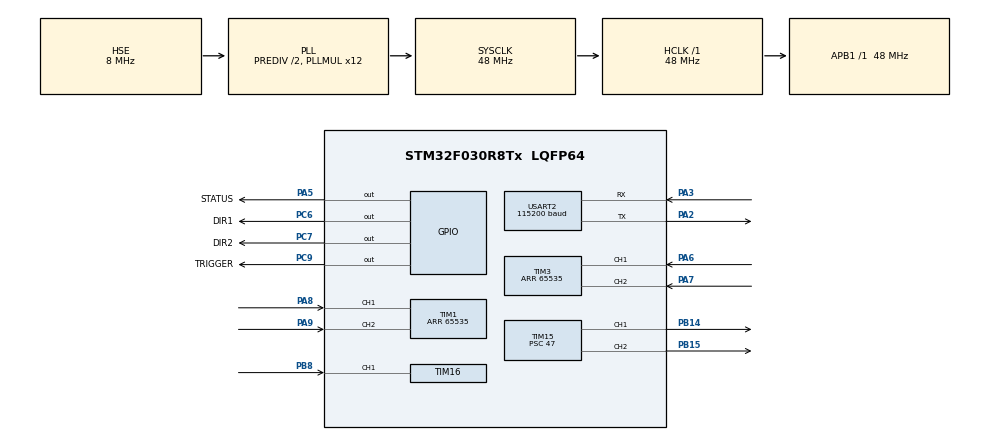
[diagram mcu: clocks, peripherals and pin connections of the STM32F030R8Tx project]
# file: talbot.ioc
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Dma.Request0=USART2_RX
Dma.Request1=USART2_TX
Dma.USART2_RX.0.Direction=DMA_PERIPH_TO_MEMORY
Dma.USART2_RX.0.Instance=DMA1_Channel5
Dma.USART2_RX.0.MemDataAlignment=DMA_MDATAALIGN_BYTE
Dma.USART2_RX.0.MemInc=DMA_MINC_ENABLE
Dma.USART2_RX.0.Mode=DMA_NORMAL
Dma.USART2_RX.0.PeriphDataAlignment=DMA_PDATAALIGN_BYTE
Dma.USART2_RX.0.PeriphInc=DMA_PINC_DISABLE
Dma.USART2_RX.0.Priority=DMA_PRIORITY_HIGH
Dma.USART2_TX.1.Direction=DMA_MEMORY_TO_PERIPH
Dma.USART2_TX.1.Instance=DMA1_Channel4
Dma.USART2_TX.1.MemDataAlignment=DMA_MDATAALIGN_BYTE
Dma.USART2_TX.1.MemInc=DMA_MINC_ENABLE
Dma.USART2_TX.1.Mode=DMA_NORMAL
Dma.USART2_TX.1.PeriphDataAlignment=DMA_PDATAALIGN_BYTE
Dma.USART2_TX.1.PeriphInc=DMA_PINC_DISABLE
Dma.USART2_TX.1.Priority=DMA_PRIORITY_HIGH
Mcu.Family=STM32F0
Mcu.Name=STM32F030R8Tx
Mcu.Package=LQFP64
NVIC.DMA1_Channel4_5_IRQn=true\:0\:0\:false\:false\:true
NVIC.TIM14_IRQn=true\:0\:0\:false\:false\:true
NVIC.TIM16_IRQn=true\:0\:0\:false\:false\:true
NVIC.USART2_IRQn=true\:0\:0\:false\:false\:true
PA13.Mode=Serial_Wire
PA13.Signal=SYS_SWDIO
PA14.Mode=Serial_Wire
PA14.Signal=SYS_SWCLK
PA2.Mode=Asynchronous
PA2.Signal=USART2_TX
PA3.Mode=Asynchronous
PA3.Signal=USART2_RX
PA5.GPIO_Label=STATUS
PA5.Signal=GPIO_Output
PA6.Signal=S_TIM3_CH1
PA7.Signal=S_TIM3_CH2
PA8.Signal=S_TIM1_CH1
PA9.Signal=S_TIM1_CH2
PB14.Signal=S_TIM15_CH1
PB15.Signal=S_TIM15_CH2
PB8.Signal=S_TIM16_CH1
PC6.GPIO_Label=DIR1
PC6.GPIO_PuPd=GPIO_PULLUP
PC6.Signal=GPIO_Output
PC7.GPIO_Label=DIR2
PC7.GPIO_PuPd=GPIO_PULLUP
PC7.Signal=GPIO_Output
PC9.GPIO_Label=TRIGGER
PC9.PinState=GPIO_PIN_SET
PC9.Signal=GPIO_Output
PF0-OSC_IN.Mode=HSE-External-Oscillator
PF0-OSC_IN.Signal=RCC_OSC_IN
PF1-OSC_OUT.Mode=HSE-External-Oscillator
PF1-OSC_OUT.Signal=RCC_OSC_OUT
ProjectManager.HeapSize=0x400
ProjectManager.StackSize=0x200
ProjectManager.TargetToolchain=MDK-ARM V5
RCC.AHBFreq_Value=48000000
RCC.APB1Freq_Value=48000000
RCC.APB1TimFreq_Value=48000000
RCC.DATA_CACHE_ENABLE=1
RCC.EnbaleCSS=true
RCC.HCLKFreq_Value=48000000
RCC.HSIState=RCC_HSI_ON
RCC.INSTRUCTION_CACHE_ENABLE=1
RCC.PLLDivider=RCC_PREDIV_DIV2
RCC.PLLMUL=RCC_PLL_MUL12
RCC.PLLSourceVirtual=RCC_PLLSOURCE_HSE
RCC.SYSCLKFreq_VALUE=48000000
RCC.SYSCLKSource=RCC_SYSCLKSOURCE_PLLCLK
SH.S_TIM15_CH1.0=TIM15_CH1,PWM Generation1 CH1
SH.S_TIM15_CH2.0=TIM15_CH2,PWM Generation2 CH2
SH.S_TIM16_CH1.0=TIM16_CH1,Input_Capture1_from_TI1
SH.S_TIM1_CH1.0=TIM1_CH1,Encoder_Interface
SH.S_TIM1_CH2.0=TIM1_CH2,Encoder_Interface
SH.S_TIM3_CH1.0=TIM3_CH1,Encoder_Interface
SH.S_TIM3_CH2.0=TIM3_CH2,Encoder_Interface
TIM1.CounterMode=TIM_COUNTERMODE_UP
TIM1.EncoderMode=TIM_ENCODERMODE_TI1
TIM1.IC1Filter=2
TIM1.IC1Polarity=TIM_ICPOLARITY_RISING
TIM1.IC2Filter=2
TIM1.IC2Polarity=TIM_ICPOLARITY_RISING
TIM1.Period=65535
TIM14.Period=9
TIM14.Prescaler=47
TIM15.Channel-PWM\ Generation2\ CH2=TIM_CHANNEL_2
TIM15.Period=1000
TIM15.Prescaler=47
TIM15.Pulse-PWM\ Generation1\ CH1=0
TIM15.Pulse-PWM\ Generation2\ CH2=0
TIM16.ICPolarity_CH1=TIM_INPUTCHANNELPOLARITY_BOTHEDGE
TIM16.Period=65535
TIM16.Prescaler=2399
TIM3.IC1Filter=2
TIM3.IC2Filter=2
TIM3.Period=65535
USART2.BaudRate=115200
VP_TIM14_VS_ClockSourceINT.Mode=Enable_Timer
VP_TIM14_VS_no_output1.Mode=Output Compare1 No Output
VP_TIM15_VS_ClockSourceINT.Mode=Internal
VP_TIM16_VS_ClockSourceINT.Mode=Enable_Timer
board=talbot

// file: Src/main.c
/**
  ******************************************************************************
  * File Name          : main.c
  * Description        : Main program body
  ******************************************************************************
  *
  * COPYRIGHT(c) 2016 STMicroelectronics
  *
  * Redistribution and use in source and binary forms, with or without modification,
  * are permitted provided that the following conditions are met:
  *   1. Redistributions of source code must retain the above copyright notice,
  *      this list of conditions and the following disclaimer.
  *   2. Redistributions in binary form must reproduce the above copyright notice,
  *      this list of conditions and the following disclaimer in the documentation
  *      and/or other materials provided with the distribution.
  *   3. Neither the name of STMicroelectronics nor the names of its contributors
  *      may be used to endorse or promote products derived from this software
  *      without specific prior written permission.
  *
  * THIS SOFTWARE IS PROVIDED BY THE COPYRIGHT HOLDERS AND CONTRIBUTORS "AS IS"
  * AND ANY EXPRESS OR IMPLIED WARRANTIES, INCLUDING, BUT NOT LIMITED TO, THE
  * IMPLIED WARRANTIES OF MERCHANTABILITY AND FITNESS FOR A PARTICULAR PURPOSE ARE
  * DISCLAIMED. IN NO EVENT SHALL THE COPYRIGHT HOLDER OR CONTRIBUTORS BE LIABLE
  * FOR ANY DIRECT, INDIRECT, INCIDENTAL, SPECIAL, EXEMPLARY, OR CONSEQUENTIAL
  * DAMAGES (INCLUDING, BUT NOT LIMITED TO, PROCUREMENT OF SUBSTITUTE GOODS OR
  * SERVICES; LOSS OF USE, DATA, OR PROFITS; OR BUSINESS INTERRUPTION) HOWEVER
  * CAUSED AND ON ANY THEORY OF LIABILITY, WHETHER IN CONTRACT, STRICT LIABILITY,
  * OR TORT (INCLUDING NEGLIGENCE OR OTHERWISE) ARISING IN ANY WAY OUT OF THE USE
  * OF THIS SOFTWARE, EVEN IF ADVISED OF THE POSSIBILITY OF SUCH DAMAGE.
  *
  ******************************************************************************
  */
#include "stm32f0xx_hal.h"

/* USER CODE BEGIN Includes */
#include <string.h>
#include <stdlib.h>
#include <math.h>
#include "CommandParser.h"
#include "SpeedControl.h"
/* USER CODE END Includes */

TIM_HandleTypeDef htim1;
TIM_HandleTypeDef htim3;
TIM_HandleTypeDef htim14;
TIM_HandleTypeDef htim15;
TIM_HandleTypeDef htim16;

UART_HandleTypeDef huart2;
DMA_HandleTypeDef hdma_usart2_rx;
DMA_HandleTypeDef hdma_usart2_tx;

/* USER CODE BEGIN PV */
/* Private variables ---------------------------------------------------------*/
#define BRAKE_ON			 0
#define RX_BUFFER_SIZE 0x200
volatile uint8_t rx_buffer[RX_BUFFER_SIZE];
static	uint8_t command[RX_BUFFER_SIZE>>1];
int rx_index = 0;

static char Str[0x100];

struct MotorState
{
	uint8_t Move;
	int 		Steps;
	int8_t 	Dir;
	float 	CurrentSpeed;
	float 	WheelDistance;
};

struct MotorState	Motors[2];
const int8_t WheelSigns[2] = { 1, -1 };

uint8_t TestModeEnable = 0;

volatile uint32_t ObstacleDistance = 0;

/* USER CODE END PV */

void SystemClock_Config(void);
void Error_Handler(void);
static void MX_GPIO_Init(void);
static void MX_DMA_Init(void);
static void MX_TIM1_Init(void);
static void MX_TIM3_Init(void);
static void MX_TIM15_Init(void);
static void MX_USART2_UART_Init(void);
static void MX_TIM14_Init(void);
static void MX_TIM16_Init(void);

void HAL_TIM_MspPostInit(TIM_HandleTypeDef *htim);

/* USER CODE BEGIN PFP */
/* Private function prototypes -----------------------------------------------*/

/* USER CODE END PFP */

/* USER CODE BEGIN 0 */

int stdout_putchar (int ch)
{
	while (HAL_UART_Transmit_DMA(&huart2, (uint8_t *)&ch, 1) == HAL_BUSY)
		__nop();
	return ch;
}

int stdin_getchar (void)
{
	return 0;
}

int GetDeltaCount(uint8_t ch, uint32_t *lastCount)
{
	uint32_t current = ch==0 ? htim1.Instance->CNT : htim3.Instance->CNT;
	int delta = current-*lastCount;
	if (delta>0x8000)
		delta -= 0x10000;
	else if (delta<-0x8000)
		delta += 0x10000;
	*lastCount = current;
	return delta;
}

#define BRAKE_DUTY								100
#define	DUTY_RESOLUTION						1000
#define	DUTY_ACTUAL_RESOLUTION		900

int BrakeActuator(int channel, int dir)
{
	if (channel==0)
	{
		HAL_TIM_PWM_Stop(&htim15, TIM_CHANNEL_1);
		HAL_GPIO_WritePin(DIR1_GPIO_Port, DIR1_Pin, dir<0 ? GPIO_PIN_SET:GPIO_PIN_RESET);
		htim15.Instance->CCR1 = BRAKE_DUTY;
		HAL_TIM_PWM_Start(&htim15, TIM_CHANNEL_1);
	}
	else if (channel==1)
	{
		HAL_TIM_PWM_Stop(&htim15, TIM_CHANNEL_2);
		HAL_GPIO_WritePin(DIR2_GPIO_Port, DIR2_Pin, dir<0 ? GPIO_PIN_SET:GPIO_PIN_RESET);
		htim15.Instance->CCR2 = BRAKE_DUTY;
		HAL_TIM_PWM_Start(&htim15, TIM_CHANNEL_2);
	}
	return 1;
}

void PWMDutyChanged(int channel, float duty)
{
	uint32_t ccr = (fabs(duty)<EPSILON_F) ? 0 : (uint32_t)(fabs(duty)*DUTY_ACTUAL_RESOLUTION)+BRAKE_DUTY;
	if (channel==0)
	{
		HAL_TIM_PWM_Stop(&htim15, TIM_CHANNEL_1);
		HAL_GPIO_WritePin(DIR1_GPIO_Port, DIR1_Pin, duty>0 ? GPIO_PIN_SET:GPIO_PIN_RESET);
		htim15.Instance->CCR1 = ccr;
		HAL_TIM_PWM_Start(&htim15, TIM_CHANNEL_1);
	}
	else if (channel==1)
	{
		HAL_TIM_PWM_Stop(&htim15, TIM_CHANNEL_2);
		HAL_GPIO_WritePin(DIR2_GPIO_Port, DIR2_Pin, duty>0 ? GPIO_PIN_SET:GPIO_PIN_RESET);
		htim15.Instance->CCR2 = ccr;
		HAL_TIM_PWM_Start(&htim15, TIM_CHANNEL_2);
	}
}

#define REPORT_INTERVAL	50

void OutputSpeed(int channel)
{
	printf("CH %d Speed: %d mm/s\r\n", channel, (int)(Motors[channel].CurrentSpeed+0.5f));
}

float GetCurrentSpeed(int channel)
{
	return Motors[channel].CurrentSpeed;
}

void Update()
{
	for(int i=0;i<2;++i)
	{
		if (Motors[i].Move)
		{
			if (TestModeEnable>1 && HAL_GetTick()%REPORT_INTERVAL==0)
				OutputSpeed(i);
			if (Motors[i].Dir>0)
			{
				if (Motors[i].Steps<=0)
					Motors[i].Move = PIDStop(i, BRAKE_ON);
			}
			else
			{
				if (Motors[i].Steps>=0)
					Motors[i].Move = PIDStop(i, BRAKE_ON);
			}
		}
	}
}

void HAL_SYSTICK_Callback(void)
{
	uint32_t tick = HAL_GetTick();
	if (tick%500==0)
		HAL_GPIO_TogglePin(STATUS_GPIO_Port, STATUS_Pin);
	PIDTick(HAL_GetTick());
	if (tick%100==0)
	{
		HAL_TIM_IC_Stop_IT(&htim16, TIM_CHANNEL_1);
		HAL_GPIO_WritePin(TRIGGER_GPIO_Port, TRIGGER_Pin, GPIO_PIN_RESET);
		htim16.Instance->CNT = 0;
		HAL_TIM_IC_Start_IT(&htim16, TIM_CHANNEL_1);
		HAL_GPIO_WritePin(TRIGGER_GPIO_Port, TRIGGER_Pin, GPIO_PIN_SET);

	}
}

void Move(const struct MotorConfig *config)
{
	static int8_t boot = 1;
	int max = abs(config->LW) < abs(config->RW) ? abs(config->RW) : abs(config->LW);

	if (max==0)
	{
		Motors[0].Steps = 0;
		Motors[0].Move = 1;
		Motors[1].Steps = 0;
		Motors[1].Move = 1;
		PIDStop(0, BRAKE_ON);
		PIDStop(1, BRAKE_ON);
		return;
	}

	float lw = config->LW * (WheelSigns[0]);
	float rw = config->RW * (WheelSigns[1]);
	float vl = config->Speed * lw / max;
	float vr = config->Speed * rw / max;

	Motors[0].Dir = vl>0 ? 1 : -1;
	Motors[1].Dir = vr>0 ? 1 : -1;
	Motors[0].Move = 1;
	Motors[1].Move = 1;

	if (fabs(vl)<EPSILON_F)
	{
		Motors[0].Steps = 0;
		PIDStop(0, BRAKE_ON);
	}
	else
	{
		Motors[0].Steps = (int)(lw / DPP);
		PIDStart(0, vl, boot);
	}

	if (fabs(vr)<0.000001f)
	{
		Motors[1].Steps = 0;
		PIDStop(0, BRAKE_ON);
	}
	else
	{
		Motors[1].Steps = (int)(rw / DPP);
		PIDStart(1, vr, boot);
	}
	boot = 0;
}

void SetTestMode(uint8_t on)
{
	TestModeEnable = on;
	if (on)
	{
		Motors[0].WheelDistance = 0;
		Motors[1].WheelDistance = 0;
	}
}

void CommandProcess(enum CommandEnum command, const void *params)
{
	switch (command)
	{
		case SetMotorCommand:
			if (TestModeEnable)
			{
				Move((const struct MotorConfig *)params);
				printf("\x1A");
			}
			else
				printf("TestMode Off\x1A");
			fflush(stdout);
			break;
		case GetMotorCommand:
			if (TestModeEnable)
			{
				sprintf(Str,"LeftWheel_PositionInMM,%d\nLeftWheel_Speed,%d\nRightWheel_PositionInMM,%d\nRightWheel_Speed,%d\nObstacle_Distance,%d\n\x1A",
					(int)Motors[0].WheelDistance, (int)Motors[0].CurrentSpeed,
					(int)Motors[1].WheelDistance, (int)Motors[1].CurrentSpeed, ObstacleDistance);
				uint16_t size = strlen(Str);
				while (HAL_UART_Transmit_DMA(&huart2, (uint8_t *)Str, size)==HAL_BUSY)
					__nop();
			}
			else
			{
				printf("TestMode Off\x1A");
				fflush(stdout);
			}
			break;
		case TestModeCommand:
			SetTestMode(*(uint8_t *)params);
			printf("\x1A");
			fflush(stdout);
			break;
		case InvalidCommand:
			printf("Invalid Command\x1A");
			fflush(stdout);
			break;
	}
}

//Ultrasonic Counter Update
void HAL_TIM_IC_CaptureCallback(TIM_HandleTypeDef *htim)
{
	static uint8_t us_count_start = 0;
	static int us_count = 0;

	if (htim!=&htim16)
		return;

	if (us_count_start)
	{
		us_count_start = 0;
		us_count = htim16.Instance->CCR1 - us_count;
		if (us_count>0 && us_count<600)
			ObstacleDistance = us_count;
		else
			ObstacleDistance = 0;
		HAL_TIM_IC_Stop_IT(&htim16, TIM_CHANNEL_1);
		htim16.Instance->CNT = 0;
	}
	else
	{
		us_count_start = 1;
		us_count = htim16.Instance->CCR1;
	}
}

//Timer for speed with 10us period
void HAL_TIM_PeriodElapsedCallback(TIM_HandleTypeDef *htim)
{
	static uint32_t stepCounts[2];
	static uint32_t dt[2] = { 0, 0 };
	static uint8_t boot = 1;
	if (htim != &htim14)
		return;
	if (boot)
	{
		stepCounts[0] = htim1.Instance->CNT;
		stepCounts[1] = htim3.Instance->CNT;
		boot = 0;
		return;
	}
	for(int i=0;i<2;++i)
	{
		int delta = GetDeltaCount(i, &stepCounts[i]);
		dt[i]+=10;
		if (delta==0 && dt[i]<100000)
			continue;
		if (Motors[i].Move)
			Motors[i].Steps -= delta;
		float dd = delta * DPP;
		Motors[i].WheelDistance += WheelSigns[i] * dd;
		Motors[i].CurrentSpeed = dd*1000000/dt[i];
		dt[i] = 0;
	}

	//Ultrasonic sensor PWM counter
	//UltrasonicCounterUpdate();
}

uint8_t half_rx = 0;
int offset = 0;

void HAL_UART_RxHalfCpltCallback(UART_HandleTypeDef *huart)
{
	half_rx = 1;
}

void ReceiveData(uint8_t boot)
{
	while(huart2.gState==HAL_UART_STATE_BUSY_TX ||
				huart2.gState==HAL_UART_STATE_BUSY)
		__nop();
	HAL_UART_DMAStop(&huart2);
	memset((void *)rx_buffer, 0, boot?RX_BUFFER_SIZE:rx_index+1);
	rx_index=0;
	half_rx=0;
	offset=0;
	HAL_UART_Receive_DMA(&huart2, (uint8_t *)rx_buffer, RX_BUFFER_SIZE);
}

/* USER CODE END 0 */

int main(void)
{

  /* USER CODE BEGIN 1 */
	memset(Motors, 0, sizeof(struct MotorState)*2);
  /* USER CODE END 1 */

  /* MCU Configuration----------------------------------------------------------*/

  /* Reset of all peripherals, Initializes the Flash interface and the Systick. */
  HAL_Init();

  /* Configure the system clock */
  SystemClock_Config();

  /* Initialize all configured peripherals */
  MX_GPIO_Init();
  MX_DMA_Init();
  MX_TIM1_Init();
  MX_TIM3_Init();
  MX_TIM15_Init();
  MX_USART2_UART_Init();
  MX_TIM14_Init();
  MX_TIM16_Init();

  /* USER CODE BEGIN 2 */
	SystemCoreClockUpdate();

	HAL_Delay(500);

	HAL_TIM_Encoder_Start(&htim1, TIM_CHANNEL_ALL);
	HAL_TIM_Encoder_Start(&htim3, TIM_CHANNEL_ALL);

	HAL_TIM_PWM_Start(&htim15, TIM_CHANNEL_1);
	HAL_TIM_PWM_Start(&htim15, TIM_CHANNEL_2);

	HAL_TIM_Base_Start_IT(&htim14);

	sprintf(Str, "System Started...\r\n\x1A");
	uint16_t size = strlen(Str);
	while (HAL_UART_Transmit_DMA(&huart2, (uint8_t *)Str, size)==HAL_BUSY)
		__nop();

  /* USER CODE END 2 */

  /* Infinite loop */
  /* USER CODE BEGIN WHILE */

	ReceiveData(1);

  while (1)
  {
  /* USER CODE END WHILE */

  /* USER CODE BEGIN 3 */

		Update();

		//Reset RX if overrun
		if (__HAL_UART_GET_FLAG(&huart2, UART_FLAG_ORE))
		{
			__HAL_UART_CLEAR_OREFLAG(&huart2);
			ReceiveData(1);
			continue;
		}

		//Read RX
		if (rx_buffer[rx_index] && huart2.RxState==HAL_UART_STATE_BUSY_RX)
		{
			if (rx_buffer[rx_index] == '\n' || rx_index >= RX_BUFFER_SIZE-1)
			{
				int len = rx_index-offset;
				if (len>0 && rx_buffer[rx_index-1] == '\r')
					--len;
				memcpy(command, (uint8_t *)rx_buffer+offset, len);
				if (half_rx)
					ReceiveData(0);
				else
					offset=++rx_index;
				CommandParse(command, len, &CommandProcess);
			}
			else
				++rx_index;
		}
  }
  /* USER CODE END 3 */

}

/** System Clock Configuration
*/
void SystemClock_Config(void)
{

  RCC_OscInitTypeDef RCC_OscInitStruct;
  RCC_ClkInitTypeDef RCC_ClkInitStruct;

  RCC_OscInitStruct.OscillatorType = RCC_OSCILLATORTYPE_HSE;
  RCC_OscInitStruct.HSEState = RCC_HSE_ON;
  RCC_OscInitStruct.PLL.PLLState = RCC_PLL_ON;
  RCC_OscInitStruct.PLL.PLLSource = RCC_PLLSOURCE_HSE;
  RCC_OscInitStruct.PLL.PLLMUL = RCC_PLL_MUL12;
  RCC_OscInitStruct.PLL.PREDIV = RCC_PREDIV_DIV2;
  if (HAL_RCC_OscConfig(&RCC_OscInitStruct) != HAL_OK)
  {
    Error_Handler();
  }

  RCC_ClkInitStruct.ClockType = RCC_CLOCKTYPE_HCLK|RCC_CLOCKTYPE_SYSCLK
                              |RCC_CLOCKTYPE_PCLK1;
  RCC_ClkInitStruct.SYSCLKSource = RCC_SYSCLKSOURCE_PLLCLK;
  RCC_ClkInitStruct.AHBCLKDivider = RCC_SYSCLK_DIV1;
  RCC_ClkInitStruct.APB1CLKDivider = RCC_HCLK_DIV1;
  if (HAL_RCC_ClockConfig(&RCC_ClkInitStruct, FLASH_LATENCY_1) != HAL_OK)
  {
    Error_Handler();
  }

  HAL_RCC_EnableCSS();

  HAL_SYSTICK_Config(HAL_RCC_GetHCLKFreq()/1000);

  HAL_SYSTICK_CLKSourceConfig(SYSTICK_CLKSOURCE_HCLK);

  /* SysTick_IRQn interrupt configuration */
  HAL_NVIC_SetPriority(SysTick_IRQn, 0, 0);
}

/* TIM1 init function */
static void MX_TIM1_Init(void)
{

  TIM_Encoder_InitTypeDef sConfig;
  TIM_MasterConfigTypeDef sMasterConfig;

  htim1.Instance = TIM1;
  htim1.Init.Prescaler = 0;
  htim1.Init.CounterMode = TIM_COUNTERMODE_UP;
  htim1.Init.Period = 65535;
  htim1.Init.ClockDivision = TIM_CLOCKDIVISION_DIV1;
  htim1.Init.RepetitionCounter = 0;
  sConfig.EncoderMode = TIM_ENCODERMODE_TI1;
  sConfig.IC1Polarity = TIM_ICPOLARITY_RISING;
  sConfig.IC1Selection = TIM_ICSELECTION_DIRECTTI;
  sConfig.IC1Prescaler = TIM_ICPSC_DIV1;
  sConfig.IC1Filter = 2;
  sConfig.IC2Polarity = TIM_ICPOLARITY_RISING;
  sConfig.IC2Selection = TIM_ICSELECTION_DIRECTTI;
  sConfig.IC2Prescaler = TIM_ICPSC_DIV1;
  sConfig.IC2Filter = 2;
  if (HAL_TIM_Encoder_Init(&htim1, &sConfig) != HAL_OK)
  {
    Error_Handler();
  }

  sMasterConfig.MasterOutputTrigger = TIM_TRGO_RESET;
  sMasterConfig.MasterSlaveMode = TIM_MASTERSLAVEMODE_DISABLE;
  if (HAL_TIMEx_MasterConfigSynchronization(&htim1, &sMasterConfig) != HAL_OK)
  {
    Error_Handler();
  }

}

/* TIM3 init function */
static void MX_TIM3_Init(void)
{

  TIM_Encoder_InitTypeDef sConfig;
  TIM_MasterConfigTypeDef sMasterConfig;

  htim3.Instance = TIM3;
  htim3.Init.Prescaler = 0;
  htim3.Init.CounterMode = TIM_COUNTERMODE_UP;
  htim3.Init.Period = 65535;
  htim3.Init.ClockDivision = TIM_CLOCKDIVISION_DIV1;
  sConfig.EncoderMode = TIM_ENCODERMODE_TI1;
  sConfig.IC1Polarity = TIM_ICPOLARITY_RISING;
  sConfig.IC1Selection = TIM_ICSELECTION_DIRECTTI;
  sConfig.IC1Prescaler = TIM_ICPSC_DIV1;
  sConfig.IC1Filter = 2;
  sConfig.IC2Polarity = TIM_ICPOLARITY_RISING;
  sConfig.IC2Selection = TIM_ICSELECTION_DIRECTTI;
  sConfig.IC2Prescaler = TIM_ICPSC_DIV1;
  sConfig.IC2Filter = 2;
  if (HAL_TIM_Encoder_Init(&htim3, &sConfig) != HAL_OK)
  {
    Error_Handler();
  }

  sMasterConfig.MasterOutputTrigger = TIM_TRGO_RESET;
  sMasterConfig.MasterSlaveMode = TIM_MASTERSLAVEMODE_DISABLE;
  if (HAL_TIMEx_MasterConfigSynchronization(&htim3, &sMasterConfig) != HAL_OK)
  {
    Error_Handler();
  }

}

/* TIM14 init function */
static void MX_TIM14_Init(void)
{

  TIM_OC_InitTypeDef sConfigOC;

  htim14.Instance = TIM14;
  htim14.Init.Prescaler = 47;
  htim14.Init.CounterMode = TIM_COUNTERMODE_UP;
  htim14.Init.Period = 9;
  htim14.Init.ClockDivision = TIM_CLOCKDIVISION_DIV1;
  if (HAL_TIM_Base_Init(&htim14) != HAL_OK)
  {
    Error_Handler();
  }

  if (HAL_TIM_OC_Init(&htim14) != HAL_OK)
  {
    Error_Handler();
  }

  sConfigOC.OCMode = TIM_OCMODE_TIMING;
  sConfigOC.Pulse = 0;
  sConfigOC.OCPolarity = TIM_OCPOLARITY_HIGH;
  sConfigOC.OCFastMode = TIM_OCFAST_DISABLE;
  if (HAL_TIM_OC_ConfigChannel(&htim14, &sConfigOC, TIM_CHANNEL_1) != HAL_OK)
  {
    Error_Handler();
  }

}

/* TIM15 init function */
static void MX_TIM15_Init(void)
{

  TIM_ClockConfigTypeDef sClockSourceConfig;
  TIM_MasterConfigTypeDef sMasterConfig;
  TIM_BreakDeadTimeConfigTypeDef sBreakDeadTimeConfig;
  TIM_OC_InitTypeDef sConfigOC;

  htim15.Instance = TIM15;
  htim15.Init.Prescaler = 47;
  htim15.Init.CounterMode = TIM_COUNTERMODE_UP;
  htim15.Init.Period = 1000;
  htim15.Init.ClockDivision = TIM_CLOCKDIVISION_DIV1;
  htim15.Init.RepetitionCounter = 0;
  if (HAL_TIM_Base_Init(&htim15) != HAL_OK)
  {
    Error_Handler();
  }

  sClockSourceConfig.ClockSource = TIM_CLOCKSOURCE_INTERNAL;
  if (HAL_TIM_ConfigClockSource(&htim15, &sClockSourceConfig) != HAL_OK)
  {
    Error_Handler();
  }

  if (HAL_TIM_PWM_Init(&htim15) != HAL_OK)
  {
    Error_Handler();
  }

  sMasterConfig.MasterOutputTrigger = TIM_TRGO_RESET;
  sMasterConfig.MasterSlaveMode = TIM_MASTERSLAVEMODE_DISABLE;
  if (HAL_TIMEx_MasterConfigSynchronization(&htim15, &sMasterConfig) != HAL_OK)
  {
    Error_Handler();
  }

  sBreakDeadTimeConfig.OffStateRunMode = TIM_OSSR_DISABLE;
  sBreakDeadTimeConfig.OffStateIDLEMode = TIM_OSSI_DISABLE;
  sBreakDeadTimeConfig.LockLevel = TIM_LOCKLEVEL_OFF;
  sBreakDeadTimeConfig.DeadTime = 0;
  sBreakDeadTimeConfig.BreakState = TIM_BREAK_DISABLE;
  sBreakDeadTimeConfig.BreakPolarity = TIM_BREAKPOLARITY_HIGH;
  sBreakDeadTimeConfig.AutomaticOutput = TIM_AUTOMATICOUTPUT_DISABLE;
  if (HAL_TIMEx_ConfigBreakDeadTime(&htim15, &sBreakDeadTimeConfig) != HAL_OK)
  {
    Error_Handler();
  }

  sConfigOC.OCMode = TIM_OCMODE_PWM1;
  sConfigOC.Pulse = 0;
  sConfigOC.OCPolarity = TIM_OCPOLARITY_HIGH;
  sConfigOC.OCNPolarity = TIM_OCNPOLARITY_HIGH;
  sConfigOC.OCFastMode = TIM_OCFAST_DISABLE;
  sConfigOC.OCIdleState = TIM_OCIDLESTATE_RESET;
  sConfigOC.OCNIdleState = TIM_OCNIDLESTATE_RESET;
  if (HAL_TIM_PWM_ConfigChannel(&htim15, &sConfigOC, TIM_CHANNEL_1) != HAL_OK)
  {
    Error_Handler();
  }

  if (HAL_TIM_PWM_ConfigChannel(&htim15, &sConfigOC, TIM_CHANNEL_2) != HAL_OK)
  {
    Error_Handler();
  }

  HAL_TIM_MspPostInit(&htim15);

}

/* TIM16 init function */
static void MX_TIM16_Init(void)
{

  TIM_IC_InitTypeDef sConfigIC;

  htim16.Instance = TIM16;
  htim16.Init.Prescaler = 2399;
  htim16.Init.CounterMode = TIM_COUNTERMODE_UP;
  htim16.Init.Period = 65535;
  htim16.Init.ClockDivision = TIM_CLOCKDIVISION_DIV1;
  htim16.Init.RepetitionCounter = 0;
  if (HAL_TIM_Base_Init(&htim16) != HAL_OK)
  {
    Error_Handler();
  }

  if (HAL_TIM_IC_Init(&htim16) != HAL_OK)
  {
    Error_Handler();
  }

  sConfigIC.ICPolarity = TIM_INPUTCHANNELPOLARITY_BOTHEDGE;
  sConfigIC.ICSelection = TIM_ICSELECTION_DIRECTTI;
  sConfigIC.ICPrescaler = TIM_ICPSC_DIV1;
  sConfigIC.ICFilter = 0;
  if (HAL_TIM_IC_ConfigChannel(&htim16, &sConfigIC, TIM_CHANNEL_1) != HAL_OK)
  {
    Error_Handler();
  }

}

/* USART2 init function */
static void MX_USART2_UART_Init(void)
{

  huart2.Instance = USART2;
  huart2.Init.BaudRate = 230400;
  huart2.Init.WordLength = UART_WORDLENGTH_8B;
  huart2.Init.StopBits = UART_STOPBITS_1;
  huart2.Init.Parity = UART_PARITY_NONE;
  huart2.Init.Mode = UART_MODE_TX_RX;
  huart2.Init.HwFlowCtl = UART_HWCONTROL_NONE;
  huart2.Init.OverSampling = UART_OVERSAMPLING_16;
  huart2.Init.OneBitSampling = UART_ONE_BIT_SAMPLE_DISABLE;
  huart2.AdvancedInit.AdvFeatureInit = UART_ADVFEATURE_NO_INIT;
  if (HAL_UART_Init(&huart2) != HAL_OK)
  {
    Error_Handler();
  }

}

static void MX_DMA_Init(void)
{
  /* DMA controller clock enable */
  __HAL_RCC_DMA1_CLK_ENABLE();

  /* DMA interrupt init */
  /* DMA1_Channel4_5_IRQn interrupt configuration */
  HAL_NVIC_SetPriority(DMA1_Channel4_5_IRQn, 0, 0);
  HAL_NVIC_EnableIRQ(DMA1_Channel4_5_IRQn);

}

/** Configure pins as
        * Analog
        * Input
        * Output
        * EVENT_OUT
        * EXTI
        * Free pins are configured automatically as Analog (this feature is enabled through
        * the Code Generation settings)
*/
static void MX_GPIO_Init(void)
{

  GPIO_InitTypeDef GPIO_InitStruct;

  /* GPIO Ports Clock Enable */
  __HAL_RCC_GPIOC_CLK_ENABLE();
  __HAL_RCC_GPIOF_CLK_ENABLE();
  __HAL_RCC_GPIOA_CLK_ENABLE();
  __HAL_RCC_GPIOB_CLK_ENABLE();
  __HAL_RCC_GPIOD_CLK_ENABLE();

  /*Configure GPIO pins : PC13 PC14 PC15 PC0
                           PC1 PC2 PC3 PC4
                           PC5 PC8 PC10 PC11
                           PC12 */
  GPIO_InitStruct.Pin = GPIO_PIN_13|GPIO_PIN_14|GPIO_PIN_15|GPIO_PIN_0
                          |GPIO_PIN_1|GPIO_PIN_2|GPIO_PIN_3|GPIO_PIN_4
                          |GPIO_PIN_5|GPIO_PIN_8|GPIO_PIN_10|GPIO_PIN_11
                          |GPIO_PIN_12;
  GPIO_InitStruct.Mode = GPIO_MODE_ANALOG;
  GPIO_InitStruct.Pull = GPIO_NOPULL;
  HAL_GPIO_Init(GPIOC, &GPIO_InitStruct);

  /*Configure GPIO pins : PA0 PA1 PA4 PA10
                           PA11 PA12 PA15 */
  GPIO_InitStruct.Pin = GPIO_PIN_0|GPIO_PIN_1|GPIO_PIN_4|GPIO_PIN_10
                          |GPIO_PIN_11|GPIO_PIN_12|GPIO_PIN_15;
  GPIO_InitStruct.Mode = GPIO_MODE_ANALOG;
  GPIO_InitStruct.Pull = GPIO_NOPULL;
  HAL_GPIO_Init(GPIOA, &GPIO_InitStruct);

  /*Configure GPIO pins : PF4 PF5 PF6 PF7 */
  GPIO_InitStruct.Pin = GPIO_PIN_4|GPIO_PIN_5|GPIO_PIN_6|GPIO_PIN_7;
  GPIO_InitStruct.Mode = GPIO_MODE_ANALOG;
  GPIO_InitStruct.Pull = GPIO_NOPULL;
  HAL_GPIO_Init(GPIOF, &GPIO_InitStruct);

  /*Configure GPIO pin : STATUS_Pin */
  GPIO_InitStruct.Pin = STATUS_Pin;
  GPIO_InitStruct.Mode = GPIO_MODE_OUTPUT_PP;
  GPIO_InitStruct.Pull = GPIO_NOPULL;
  GPIO_InitStruct.Speed = GPIO_SPEED_FREQ_LOW;
  HAL_GPIO_Init(STATUS_GPIO_Port, &GPIO_InitStruct);

  /*Configure GPIO pins : PB0 PB1 PB2 PB10
                           PB11 PB12 PB13 PB3
                           PB4 PB5 PB6 PB7
                           PB9 */
  GPIO_InitStruct.Pin = GPIO_PIN_0|GPIO_PIN_1|GPIO_PIN_2|GPIO_PIN_10
                          |GPIO_PIN_11|GPIO_PIN_12|GPIO_PIN_13|GPIO_PIN_3
                          |GPIO_PIN_4|GPIO_PIN_5|GPIO_PIN_6|GPIO_PIN_7
                          |GPIO_PIN_9;
  GPIO_InitStruct.Mode = GPIO_MODE_ANALOG;
  GPIO_InitStruct.Pull = GPIO_NOPULL;
  HAL_GPIO_Init(GPIOB, &GPIO_InitStruct);

  /*Configure GPIO pins : DIR1_Pin DIR2_Pin */
  GPIO_InitStruct.Pin = DIR1_Pin|DIR2_Pin;
  GPIO_InitStruct.Mode = GPIO_MODE_OUTPUT_PP;
  GPIO_InitStruct.Pull = GPIO_PULLUP;
  GPIO_InitStruct.Speed = GPIO_SPEED_FREQ_LOW;
  HAL_GPIO_Init(GPIOC, &GPIO_InitStruct);

  /*Configure GPIO pin : TRIGGER_Pin */
  GPIO_InitStruct.Pin = TRIGGER_Pin;
  GPIO_InitStruct.Mode = GPIO_MODE_OUTPUT_PP;
  GPIO_InitStruct.Pull = GPIO_NOPULL;
  GPIO_InitStruct.Speed = GPIO_SPEED_FREQ_LOW;
  HAL_GPIO_Init(TRIGGER_GPIO_Port, &GPIO_InitStruct);

  /*Configure GPIO pin : PD2 */
  GPIO_InitStruct.Pin = GPIO_PIN_2;
  GPIO_InitStruct.Mode = GPIO_MODE_ANALOG;
  GPIO_InitStruct.Pull = GPIO_NOPULL;
  HAL_GPIO_Init(GPIOD, &GPIO_InitStruct);

  /*Configure GPIO pin Output Level */
  HAL_GPIO_WritePin(STATUS_GPIO_Port, STATUS_Pin, GPIO_PIN_RESET);

  /*Configure GPIO pin Output Level */
  HAL_GPIO_WritePin(GPIOC, DIR1_Pin|DIR2_Pin, GPIO_PIN_RESET);

  /*Configure GPIO pin Output Level */
  HAL_GPIO_WritePin(TRIGGER_GPIO_Port, TRIGGER_Pin, GPIO_PIN_SET);

}

void Error_Handler(void)
{
  while(1)
  {
  }
}

/************************ (C) COPYRIGHT STMicroelectronics *****END OF FILE****/
